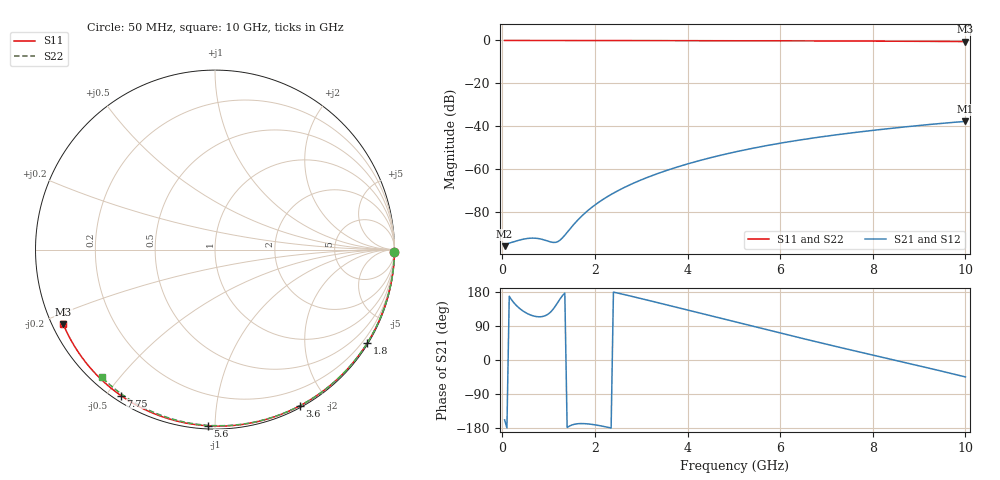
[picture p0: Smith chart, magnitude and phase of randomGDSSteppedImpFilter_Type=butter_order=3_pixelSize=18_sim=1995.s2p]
! freq	dB(S11)	phase(S11)	dB(S12)	phase(S12)
!  dB(S21)	phase(S21)	dB(S22)	phase(S22)
!S-par simulation data
#  GHz  S  DB  R 50
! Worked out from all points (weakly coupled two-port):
!   200 points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, 50 MHz to 10 GHz, reference 50 ohm
!   highest |S21| = -37.68 dB at 10 GHz (marker M1); lowest = -95.8 dB at 50 MHz (marker M2)
!   lowest |S11| = -0.5 dB at 10 GHz (marker M3), VSWR 33.52, Z = 1.57 - j11.6 ohm
!   |S11| at or under -10 dB: nowhere
!   |S22| runs from -0.4 to 0.0 dB; largest |S21 - S12| = 0
!   S11 on the Smith chart (normalised r, x): 50 MHz: open; 1.8 GHz: 0.03, -3.53; 3.6 GHz: 0.02, -1.68; 5.6 GHz: 0.02, -0.96; 7.75 GHz: 0.02, -0.55; 10 GHz: 0.03, -0.23
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0.05  -0.00 -0.9  -95.77 -158.1  -95.77 -158.1  -0.00 -0.8
0.45  -0.01 -8.0  -92.53 129.1  -92.53 129.1  -0.01 -6.9
0.9  -0.02 -16.0  -92.82 115.7  -92.82 115.7  -0.02 -13.6
1.3  -0.03 -23.0  -91.88 169.9  -91.88 169.9  -0.02 -19.6
1.75  -0.04 -30.7  -81.06 -167.8  -81.06 -167.8  -0.03 -26.3
1.8  -0.04 -31.6  -80.08 -168.1  -80.08 -168.1  -0.03 -27.0
2  -0.04 -35.0  -76.60 -171.1  -76.60 -171.1  -0.04 -30.0
2.15  -0.05 -37.6  -74.35 -174.4  -74.35 -174.4  -0.04 -32.2
2.5  -0.06 -43.5  -69.91 176.5  -69.91 176.5  -0.05 -37.2
2.9  -0.07 -50.1  -65.81 164.9  -65.81 164.9  -0.06 -43.0
3.4  -0.08 -58.3  -61.62 150.0  -61.62 150.0  -0.07 -50.0
3.6  -0.08 -61.5  -60.15 144.0  -60.15 144.0  -0.07 -52.8
4.3  -0.10 -72.6  -55.69 122.9  -55.69 122.9  -0.09 -62.4
5.05  -0.13 -84.1  -51.79 100.1  -51.79 100.1  -0.11 -72.4
5.6  -0.15 -92.2  -49.39 83.4  -49.39 83.4  -0.13 -79.5
6.15  -0.18 -100.2  -47.29 66.8  -47.29 66.8  -0.15 -86.5
6.7  -0.21 -108.1  -45.45 50.4  -45.45 50.4  -0.18 -93.3
7.2  -0.24 -115.1  -43.96 35.8  -43.96 35.8  -0.21 -99.3
7.75  -0.28 -122.7  -42.49 20.0  -42.49 20.0  -0.24 -105.9
8.35  -0.34 -131.0  -41.03 3.0  -41.03 3.0  -0.29 -112.9
9.2  -0.42 -142.7  -39.17 -21.1  -39.17 -21.1  -0.36 -122.6
10  -0.52 -153.8  -37.68 -44.6  -37.68 -44.6  -0.45 -131.7
